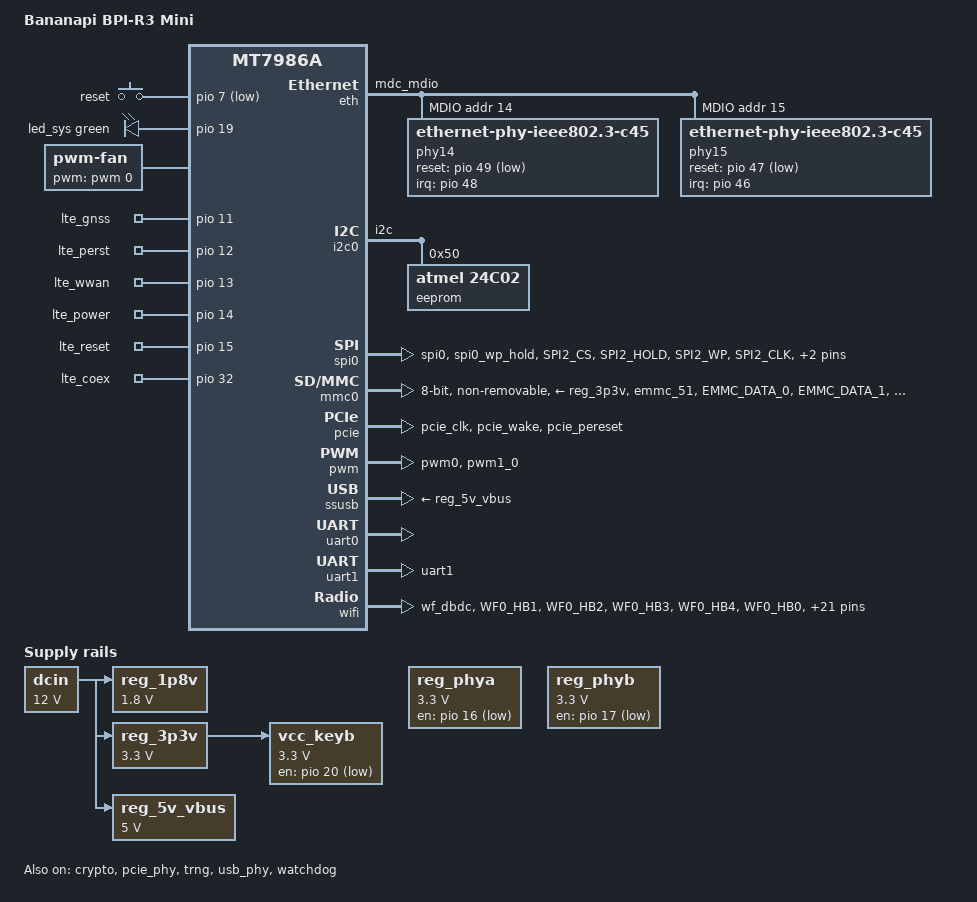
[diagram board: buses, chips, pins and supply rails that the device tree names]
// SPDX-License-Identifier: GPL-2.0-or-later OR MIT

/dts-v1/;
#include <dt-bindings/gpio/gpio.h>
#include <dt-bindings/input/input.h>
#include <dt-bindings/leds/common.h>

#include "mt7986a.dtsi"

/ {
	model = "Bananapi BPI-R3 Mini";
	chassis-type = "embedded";
	compatible = "bananapi,bpi-r3-mini", "mediatek,mt7986a";

	aliases {
		serial0 = &uart0;
		ethernet0 = &gmac0;
		ethernet1 = &gmac1;

		led-boot = &led_sys;
		led-failsafe = &led_sys;
		led-running = &led_sys;
		led-upgrade = &led_sys;
	};

	chosen {
		stdout-path = "serial0:115200n8";
	};

	keys {
		compatible = "gpio-keys";

		key-reset {
			label = "reset";
			linux,code = <KEY_RESTART>;
			gpios = <&pio 7 GPIO_ACTIVE_LOW>;
		};
	};

	leds {
		compatible = "gpio-leds";

		led_sys: led-0 {
			function = LED_FUNCTION_STATUS;
			color = <LED_COLOR_ID_GREEN>;
			gpios = <&pio 19 GPIO_ACTIVE_HIGH>;
			default-state = "on";
		};
	};

	fan: pwm-fan {
		compatible = "pwm-fan";
		/* cooling level (0, 1, 2, 3) - pwm inverted */
		cooling-levels = <255 128 64 0>;
		pwms = <&pwm 0 10000>;
		#cooling-cells = <2>;
	};

	dcin: regulator-12vd {
		compatible = "regulator-fixed";
		regulator-name = "12vd";
		regulator-min-microvolt = <12000000>;
		regulator-max-microvolt = <12000000>;
		regulator-boot-on;
		regulator-always-on;
	};

	reg_1p8v: regulator-1p8v {
		compatible = "regulator-fixed";
		regulator-name = "1.8vd";
		regulator-min-microvolt = <1800000>;
		regulator-max-microvolt = <1800000>;
		regulator-boot-on;
		regulator-always-on;
		vin-supply = <&dcin>;
	};

	reg_3p3v: regulator-3p3v {
		compatible = "regulator-fixed";
		regulator-name = "3.3vd";
		regulator-min-microvolt = <3300000>;
		regulator-max-microvolt = <3300000>;
		regulator-boot-on;
		regulator-always-on;
		vin-supply = <&dcin>;
	};

	reg_5v_vbus: regulator-5v-vbus {
		compatible = "regulator-fixed";
		regulator-name = "5v_vbus1";
		regulator-min-microvolt = <5000000>;
		regulator-max-microvolt = <5000000>;
		regulator-boot-on;
		regulator-always-on;
		vin-supply = <&dcin>;
	};

	reg_phya: regulator-phya {
		compatible = "regulator-fixed";
		gpio = <&pio 16 GPIO_ACTIVE_LOW>;
		regulator-name = "reg_phya";
		regulator-min-microvolt = <3300000>;
		regulator-max-microvolt = <3300000>;
		regulator-boot-on;
		regulator-always-on;
	};

	reg_phyb: regulator-phyb {
		compatible = "regulator-fixed";
		gpio = <&pio 17 GPIO_ACTIVE_LOW>;
		regulator-name = "reg_phyb";
		regulator-min-microvolt = <3300000>;
		regulator-max-microvolt = <3300000>;
		regulator-boot-on;
		regulator-always-on;
	};

	vcc_keyb: regulator-vcc-keyb {
		compatible = "regulator-fixed";
		gpio = <&pio 20 GPIO_ACTIVE_LOW>;
		regulator-name = "vcc_keyb";
		regulator-min-microvolt = <3300000>;
		regulator-max-microvolt = <3300000>;
		vin-supply = <&reg_3p3v>;
	};

	gpio-export {
		compatible = "gpio-export";

		lte-gnss {
			gpio-export,name = "lte_gnss";
			gpios = <&pio 11 GPIO_ACTIVE_HIGH>;
		};

		lte-perst {
			gpio-export,name = "lte_perst";
			gpios = <&pio 12 GPIO_ACTIVE_HIGH>;
		};

		lte-wwan {
			gpio-export,name = "lte_wwan";
			gpios = <&pio 13 GPIO_ACTIVE_HIGH>;
		};

		lte-power {
			gpio-export,name = "lte_power";
			gpios = <&pio 14 GPIO_ACTIVE_HIGH>;
		};

		lte-reset {
			gpio-export,name = "lte_reset";
			gpios = <&pio 15 GPIO_ACTIVE_HIGH>;
		};

		lte-coex {
			gpio-export,name = "lte_coex";
			gpios = <&pio 32 GPIO_ACTIVE_HIGH>;
		};
	};
};

&cpu_thermal {
	cooling-maps {
		map-cpu-active-high {
			/* active: set fan to cooling level 3 */
			cooling-device = <&fan 3 3>;
			trip = <&cpu_trip_active_high>;
		};

		map-cpu-active-med {
			/* active: set fan to cooling level 2 */
			cooling-device = <&fan 2 2>;
			trip = <&cpu_trip_active_med>;
		};

		map-cpu-active-low {
			/* active: set fan to cooling level 1 */
			cooling-device = <&fan 1 1>;
			trip = <&cpu_trip_active_low>;
		};
	};
};

&crypto {
	status = "okay";
};

&eth {
	pinctrl-names = "default";
	pinctrl-0 = <&mdio_pins>;
	status = "okay";

	gmac0: mac@0 {
		compatible = "mediatek,eth-mac";
		reg = <0>;
		phy-mode = "2500base-x";
		phy-handle = <&phy14>;
		phy-supply = <&reg_phya>;
	};

	gmac1: mac@1 {
		compatible = "mediatek,eth-mac";
		reg = <1>;
		phy-mode = "2500base-x";
		phy-handle = <&phy15>;
		phy-supply = <&reg_phyb>;
	};

	mdio: mdio-bus {
		#address-cells = <1>;
		#size-cells = <0>;
	};
};

&mdio {
	phy14: phy@14 {
		compatible = "ethernet-phy-ieee802.3-c45";
		reg = <14>;
		reset-assert-us = <10000>;
		reset-deassert-us = <20000>;
		reset-gpios = <&pio 49 GPIO_ACTIVE_LOW>;
		interrupt-parent = <&pio>;
		interrupts = <48 IRQ_TYPE_EDGE_FALLING>;
		airoha,pnswap-rx;

		leds {
			#address-cells = <1>;
			#size-cells = <0>;

			led@0 {
				reg = <0>;
				function = LED_FUNCTION_LAN;
				color = <LED_COLOR_ID_AMBER>;
				default-state = "keep";
			};

			led@1 {
				reg = <1>;
				function = LED_FUNCTION_LAN;
				color = <LED_COLOR_ID_GREEN>;
				default-state = "keep";
			};
		};
	};

	phy15: phy@15 {
		compatible = "ethernet-phy-ieee802.3-c45";
		reg = <15>;
		reset-assert-us = <10000>;
		reset-deassert-us = <20000>;
		reset-gpios = <&pio 47 GPIO_ACTIVE_LOW>;
		interrupt-parent = <&pio>;
		interrupts = <46 IRQ_TYPE_EDGE_FALLING>;
		airoha,pnswap-rx;

		leds {
			#address-cells = <1>;
			#size-cells = <0>;

			led@0 {
				reg = <0>;
				function = LED_FUNCTION_WAN;
				color = <LED_COLOR_ID_AMBER>;
				default-state = "keep";
			};

			led@1 {
				reg = <1>;
				function = LED_FUNCTION_WAN;
				color = <LED_COLOR_ID_GREEN>;
				default-state = "keep";
			};
		};
	};
};

&i2c0 {
	pinctrl-names = "default";
	pinctrl-0 = <&i2c0_pins>;
	status = "okay";

	eeprom@50 {
		compatible = "atmel,24c02";
		reg = <0x50>;
		pagesize = <8>;
		size = <256>;
	};
};

&spi0 {
	pinctrl-names = "default";
	pinctrl-0 = <&spi_flash_pins>;
	status = "okay";
};

&mmc0 {
	bus-width = <8>;
	cap-mmc-highspeed;
	hs400-ds-delay = <0x14014>;
	max-frequency = <200000000>;
	mmc-hs200-1_8v;
	mmc-hs400-1_8v;
	non-removable;
	no-sd;
	no-sdio;
	pinctrl-names = "default", "state_uhs";
	pinctrl-0 = <&mmc0_pins_default>;
	pinctrl-1 = <&mmc0_pins_uhs>;
	vmmc-supply = <&reg_3p3v>;
	vqmmc-supply = <&reg_1p8v>;
	status = "okay";
};

&pcie {
	pinctrl-names = "default";
	pinctrl-0 = <&pcie_pins>;
	status = "okay";
};

&pcie_phy {
	status = "okay";
};

&pio {
	i2c0_pins: i2c0-pins {
		mux {
			function = "i2c";
			groups = "i2c";
		};
	};

	mdio_pins: mdio-pins {
		mux {
			function = "eth";
			groups = "mdc_mdio";
		};
	};

	spi_flash_pins: spi-flash-pins {
		mux {
			function = "spi";
			groups = "spi0", "spi0_wp_hold";
		};
		conf-pu {
			pins = "SPI2_CS", "SPI2_HOLD", "SPI2_WP";
			drive-strength = <8>;
			mediatek,pull-up-adv = <0>; /* bias-disable */
		};
		conf-pd {
			pins = "SPI2_CLK", "SPI2_MOSI", "SPI2_MISO";
			drive-strength = <8>;
			mediatek,pull-down-adv = <0>; /* bias-disable */
		};
	};

	mmc0_pins_default: mmc0-pins {
		mux {
			function = "emmc";
			groups = "emmc_51";
		};
		conf-cmd-dat {
			pins = "EMMC_DATA_0", "EMMC_DATA_1", "EMMC_DATA_2",
			       "EMMC_DATA_3", "EMMC_DATA_4", "EMMC_DATA_5",
			       "EMMC_DATA_6", "EMMC_DATA_7", "EMMC_CMD";
			input-enable;
			drive-strength = <4>;
			mediatek,pull-up-adv = <1>; /* pull-up 10K */
		};
		conf-clk {
			pins = "EMMC_CK";
			drive-strength = <6>;
			mediatek,pull-down-adv = <2>; /* pull-down 50K */
		};
		conf-ds {
			pins = "EMMC_DSL";
			mediatek,pull-down-adv = <2>; /* pull-down 50K */
		};
		conf-rst {
			pins = "EMMC_RSTB";
			drive-strength = <4>;
			mediatek,pull-up-adv = <1>; /* pull-up 10K */
		};
	};

	mmc0_pins_uhs: mmc0-uhs-pins {
		mux {
			function = "emmc";
			groups = "emmc_51";
		};
		conf-cmd-dat {
			pins = "EMMC_DATA_0", "EMMC_DATA_1", "EMMC_DATA_2",
			       "EMMC_DATA_3", "EMMC_DATA_4", "EMMC_DATA_5",
			       "EMMC_DATA_6", "EMMC_DATA_7", "EMMC_CMD";
			input-enable;
			drive-strength = <4>;
			mediatek,pull-up-adv = <1>; /* pull-up 10K */
		};
		conf-clk {
			pins = "EMMC_CK";
			drive-strength = <6>;
			mediatek,pull-down-adv = <2>; /* pull-down 50K */
		};
		conf-ds {
			pins = "EMMC_DSL";
			mediatek,pull-down-adv = <2>; /* pull-down 50K */
		};
		conf-rst {
			pins = "EMMC_RSTB";
			drive-strength = <4>;
			mediatek,pull-up-adv = <1>; /* pull-up 10K */
		};
	};

	pcie_pins: pcie-pins {
		mux {
			function = "pcie";
			groups = "pcie_clk", "pcie_wake", "pcie_pereset";
		};
	};

	pwm_pins: pwm-pins {
		mux {
			function = "pwm";
			groups = "pwm0", "pwm1_0";
		};
	};

	uart1_pins: uart1-pins {
		mux {
			function = "uart";
			groups = "uart1";
		};
	};

	wf_led_pins: wf-led-pins {
		mux {
			function = "led";
			groups = "wifi_led";
		};
	};

	wf_dbdc_pins: wf-dbdc-pins {
		mux {
			function = "wifi";
			groups = "wf_dbdc";
		};
		conf {
			pins = "WF0_HB1", "WF0_HB2", "WF0_HB3", "WF0_HB4",
			       "WF0_HB0", "WF0_HB0_B", "WF0_HB5", "WF0_HB6",
			       "WF0_HB7", "WF0_HB8", "WF0_HB9", "WF0_HB10",
			       "WF0_TOP_CLK", "WF0_TOP_DATA", "WF1_HB1",
			       "WF1_HB2", "WF1_HB3", "WF1_HB4", "WF1_HB0",
			       "WF1_HB5", "WF1_HB6", "WF1_HB7", "WF1_HB8",
			       "WF1_TOP_CLK", "WF1_TOP_DATA";
			drive-strength = <4>;
		};
	};
};

&pwm {
	pinctrl-names = "default";
	pinctrl-0 = <&pwm_pins>;
	status = "okay";
};

&ssusb {
	vusb33-supply = <&vcc_keyb>;
	vbus-supply = <&reg_5v_vbus>;
	status = "okay";
};

&trng {
	status = "okay";
};

&uart0 {
	status = "okay";
};

&uart1 {
	pinctrl-names = "default";
	pinctrl-0 = <&uart1_pins>;
	status = "okay";
};

&usb_phy {
	status = "okay";
};

&watchdog {
	status = "okay";
};

&wifi {
	pinctrl-names = "dbdc";
	pinctrl-0 = <&wf_dbdc_pins>, <&wf_led_pins>;
	status = "okay";
};
